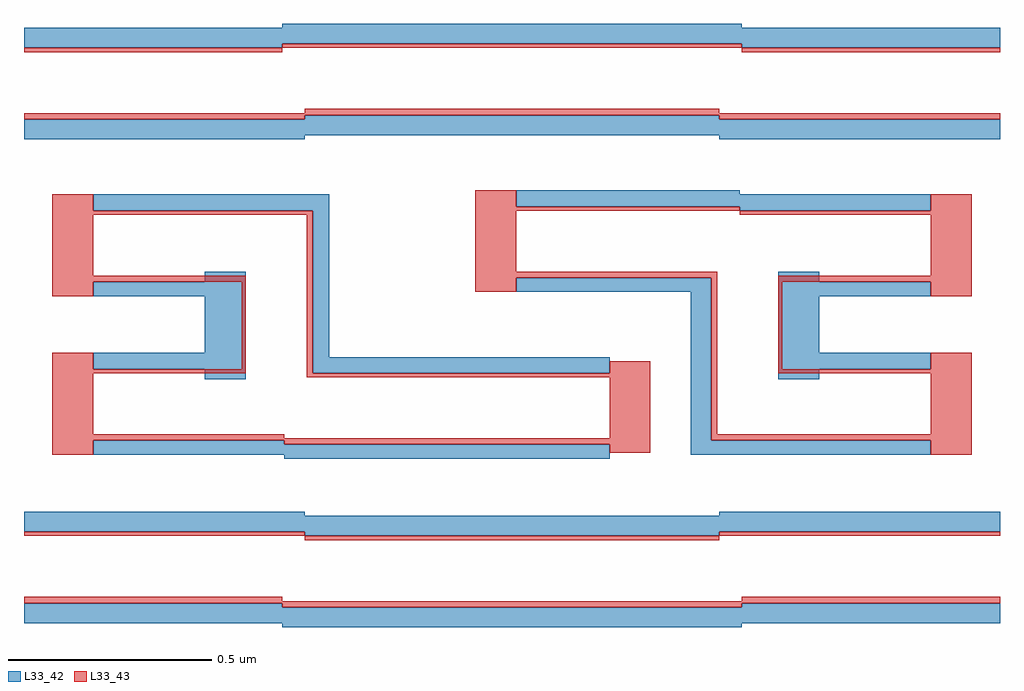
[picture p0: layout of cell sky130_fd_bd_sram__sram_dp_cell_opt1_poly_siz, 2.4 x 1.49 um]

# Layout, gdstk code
from math import pi, radians
import gdstk
lib = gdstk.Library(unit=1e-6, precision=1e-09)
def R(c, l, rs):  # rectangles x0, y0, x1, y1
    for r in rs: c.add(gdstk.rectangle(r[:2], r[2:], *l))
def P(c, l, *ps):  # polygons
    for p in ps: c.add(gdstk.Polygon(p, *l))
L33_42 = (33, 42)
L33_43 = (33, 43)

sky130_fd_bd_sram__sram_ = lib.new_cell('sky130_fd_bd_sram__sram_dp_cell_half_poly_siz_optd')
P(sky130_fd_bd_sram__sram_, L33_42, [(0.635,-0.075),(0.635,-0.065),(0,-0.065),(0,-0.015),(0.635,-0.015),(0.635,-0.025),(1.2,-0.025),(1.2,-0.075)])
P(sky130_fd_bd_sram__sram_, L33_43, [(0.635,-0.025),(0.635,-0.015),(0,-0.015),(0,0),(0.635,0),(0.635,-0.01),(1.2,-0.01),(1.2,-0.025)])

c_sky130_fd_bd_sram__sram_ = lib.new_cell('sky130_fd_bd_sram__sram_dp_cell_half_poly_siz_optc')
P(c_sky130_fd_bd_sram__sram_, L33_42, [(0.69,0),(0.69,0.01),(0,0.01),(0,0.06),(0.69,0.06),(0.69,0.05),(1.2,0.05),(1.2,0)])
R(c_sky130_fd_bd_sram__sram_, L33_43, [(0.69,-0.01,1.2,0), (0,0,0.69,0.01)])

c_sky130_fd_bd_sram__sram__ = lib.new_cell('sky130_fd_bd_sram__sram_dp_cell_half_poly_siz_opta')
P(c_sky130_fd_bd_sram__sram__, L33_42, [(0,0.01),(0,0.06),(0.635,0.06),(0.635,0.07),(1.2,0.07),(1.2,0.02),(0.635,0.02),(0.635,0.01)])
R(c_sky130_fd_bd_sram__sram__, L33_43, [(0,0,0.635,0.01), (0.635,0.01,1.2,0.02)])

c_sky130_fd_bd_sram__sram___ = lib.new_cell('sky130_fd_bd_sram__sram_dp_cell_poly_srf_optb')
R(c_sky130_fd_bd_sram__sram___, L33_43, [(0,-0.185,0.1,0.04)])

c_sky130_fd_bd_sram__sram____ = lib.new_cell('sky130_fd_bd_sram__sram_dp_cell_poly_srf_opta')
R(c_sky130_fd_bd_sram__sram____, L33_43, [(-0.1,-0.2,0,0.05)])

c_sky130_fd_bd_sram__sram_____ = lib.new_cell('sky130_fd_bd_sram__sram_dp_cell_half_poly_siz_optb')
P(c_sky130_fd_bd_sram__sram_____, L33_42, [(0,-0.065),(0,-0.015),(0.69,-0.015),(0.69,-0.005),(1.2,-0.005),(1.2,-0.055),(0.69,-0.055),(0.69,-0.065)])
P(c_sky130_fd_bd_sram__sram_____, L33_43, [(0,-0.015),(0,0),(0.69,0),(0.69,0.01),(1.2,0.01),(1.2,-0.005),(0.69,-0.005),(0.69,-0.015)])

c_sky130_fd_bd_sram__sram______ = lib.new_cell('sky130_fd_bd_sram__sram_dp_cell_poly_srf_dp_opta')
R(c_sky130_fd_bd_sram__sram______, L33_42, [(0,-0.24,0.1,0.025)])

c_sky130_fd_bd_sram__sram_______ = lib.new_cell('sky130_fd_bd_sram__sram_dp_cell_opt1_poly_siz')
P(c_sky130_fd_bd_sram__sram_______, L33_42, [(1.64,0.47),(1.64,0.87),(1.21,0.87),(1.21,0.905),(1.69,0.905),(1.69,0.505),(2.23,0.505),(2.23,0.47)],
  [(0.71,0.67),(0.71,1.07),(0.17,1.07),(0.17,1.11),(0.75,1.11),(0.75,0.71),(1.44,0.71),(1.44,0.67)],
  [(0.17,0.68),(0.17,0.72),(0.5,0.72),(0.5,0.86),(0.17,0.86),(0.17,0.895),(0.535,0.895),(0.535,0.68)],
  [(0.64,0.46),(0.64,0.47),(0.17,0.47),(0.17,0.505),(0.64,0.505),(0.64,0.495),(1.44,0.495),(1.44,0.46)],
  [(1.76,1.07),(1.76,1.08),(1.21,1.08),(1.21,1.12),(1.76,1.12),(1.76,1.11),(2.23,1.11),(2.23,1.07)],
  [(1.865,0.68),(1.865,0.895),(2.23,0.895),(2.23,0.86),(1.9,0.86),(1.9,0.72),(2.23,0.72),(2.23,0.68)])
R(c_sky130_fd_bd_sram__sram_______, L33_43, [(1.76,1.06,2.23,1.07), (1.21,1.07,1.76,1.08)])
P(c_sky130_fd_bd_sram__sram_______, L33_43, [(0.695,0.66),(0.695,1.06),(0.17,1.06),(0.17,1.07),(0.71,1.07),(0.71,0.67),(1.44,0.67),(1.44,0.66)],
  [(1.69,0.505),(1.69,0.905),(1.21,0.905),(1.21,0.92),(1.705,0.92),(1.705,0.52),(2.23,0.52),(2.23,0.505)],
  [(0.64,0.495),(0.64,0.505),(0.17,0.505),(0.17,0.52),(0.64,0.52),(0.64,0.51),(1.44,0.51),(1.44,0.495)],
  [(0.17,0.67),(0.17,0.68),(0.535,0.68),(0.535,0.895),(0.17,0.895),(0.17,0.91),(0.545,0.91),(0.545,0.67)],
  [(1.855,0.67),(1.855,0.91),(2.23,0.91),(2.23,0.895),(1.865,0.895),(1.865,0.68),(2.23,0.68),(2.23,0.67)])
c_sky130_fd_bd_sram__sram_______.add(gdstk.Reference(sky130_fd_bd_sram__sram_, (2.4,0.12), rotation=pi, x_reflection=True))
c_sky130_fd_bd_sram__sram_______.add(gdstk.Reference(sky130_fd_bd_sram__sram_, (0,0.12)))
c_sky130_fd_bd_sram__sram_______.add(gdstk.Reference(c_sky130_fd_bd_sram__sram_, (2.4,0.27), rotation=pi, x_reflection=True))
c_sky130_fd_bd_sram__sram_______.add(gdstk.Reference(c_sky130_fd_bd_sram__sram_, (0,0.27)))
c_sky130_fd_bd_sram__sram_______.add(gdstk.Reference(c_sky130_fd_bd_sram__sram__, (2.4,1.46), rotation=pi, x_reflection=True))
c_sky130_fd_bd_sram__sram_______.add(gdstk.Reference(c_sky130_fd_bd_sram__sram__, (0,1.46)))
c_sky130_fd_bd_sram__sram_______.add(gdstk.Reference(c_sky130_fd_bd_sram__sram___, (1.44,0.66)))
c_sky130_fd_bd_sram__sram_______.add(gdstk.Reference(c_sky130_fd_bd_sram__sram____, (2.23,0.67), rotation=pi, x_reflection=True))
c_sky130_fd_bd_sram__sram_______.add(gdstk.Reference(c_sky130_fd_bd_sram__sram____, (2.23,1.06), rotation=pi, x_reflection=True))
c_sky130_fd_bd_sram__sram_______.add(gdstk.Reference(c_sky130_fd_bd_sram__sram____, (1.21,1.07)))
c_sky130_fd_bd_sram__sram_______.add(gdstk.Reference(c_sky130_fd_bd_sram__sram____, (0.17,0.67)))
c_sky130_fd_bd_sram__sram_______.add(gdstk.Reference(c_sky130_fd_bd_sram__sram____, (0.17,1.06)))
c_sky130_fd_bd_sram__sram_______.add(gdstk.Reference(c_sky130_fd_bd_sram__sram_____, (0,1.31)))
c_sky130_fd_bd_sram__sram_______.add(gdstk.Reference(c_sky130_fd_bd_sram__sram_____, (2.4,1.31), rotation=pi, x_reflection=True))
c_sky130_fd_bd_sram__sram_______.add(gdstk.Reference(c_sky130_fd_bd_sram__sram______, (0.445,0.895)))
c_sky130_fd_bd_sram__sram_______.add(gdstk.Reference(c_sky130_fd_bd_sram__sram______, (1.955,0.895), rotation=pi, x_reflection=True))

lib.write_gds('sky130_fd_bd_sram__sram_dp_cell_opt1_poly_siz.gds')
